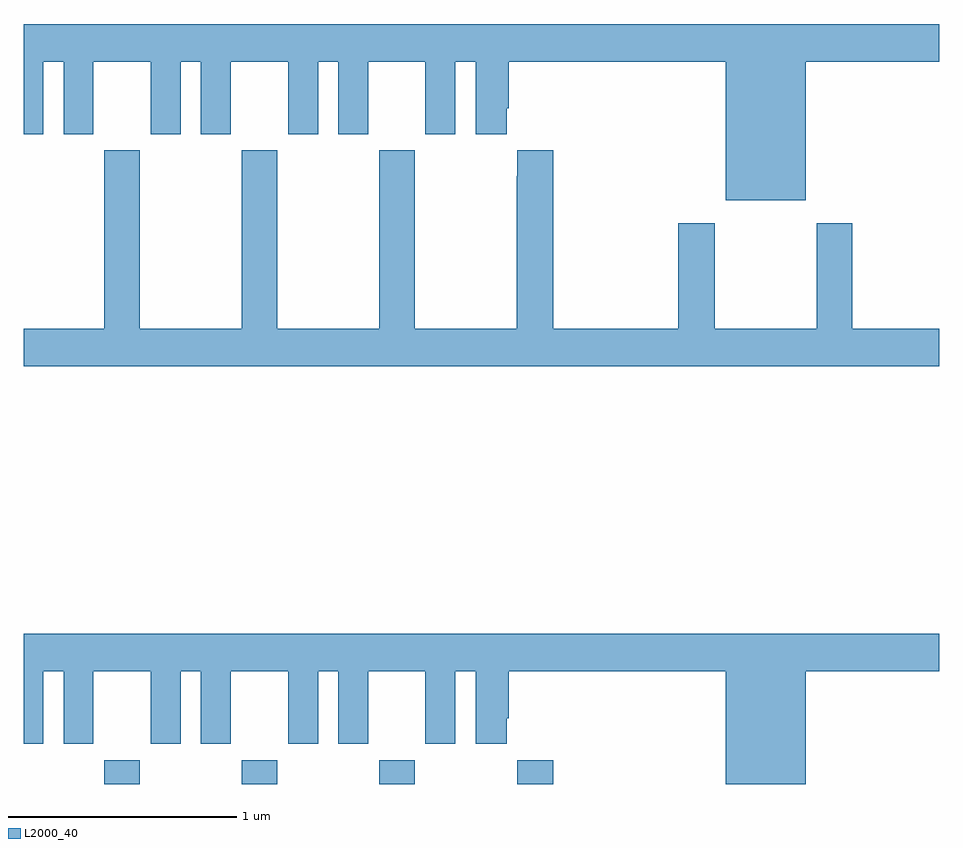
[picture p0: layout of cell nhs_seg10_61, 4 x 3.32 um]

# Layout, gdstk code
import gdstk
lib = gdstk.Library(unit=1e-6, precision=1e-09)
def R(c, l, rs):  # rectangles x0, y0, x1, y1
    for r in rs: c.add(gdstk.rectangle(r[:2], r[2:], *l))
def A(c, l, x, y, w, h, nx, ny, dx, dy):  # array of equal rectangles
    R(c, l, [(x+i*dx, y+j*dy, x+i*dx+w, y+j*dy+h) for i in range(nx) for j in range(ny)])
def P(c, l, *ps):  # polygons
    for p in ps: c.add(gdstk.Polygon(p, *l))
L2000_40 = (2000, 40)

nhs_seg10_61 = lib.new_cell('nhs_seg10_61')
A(nhs_seg10_61, L2000_40, 113.353, 1290.5, 0.155, 0.104, 3, 1, 0.6, 0)
R(nhs_seg10_61, L2000_40, [(115.157,1290.5,115.313,1290.604)])
P(nhs_seg10_61, L2000_40, [(116.416,1293.656),(117,1293.656),(117,1293.82),(113,1293.82),(113,1293.339),(113.086,1293.339),(113.086,1293.656),(113.174,1293.656),(113.174,1293.339),(113.305,1293.339),(113.305,1293.656),(113.555,1293.656),(113.555,1293.339),(113.686,1293.339),(113.686,1293.656),(113.774,1293.656),(113.774,1293.339),(113.905,1293.339),(113.905,1293.656),(114.155,1293.656),(114.155,1293.339),(114.286,1293.339),(114.286,1293.656),(114.374,1293.656),(114.374,1293.339),(114.505,1293.339),(114.505,1293.656),(114.755,1293.656),(114.755,1293.339),(114.886,1293.339),(114.886,1293.656),(114.974,1293.656),(114.974,1293.339),(115.111,1293.339),(115.111,1293.451),(115.118,1293.451),(115.118,1293.656),(116.066,1293.656),(116.066,1293.05),(116.416,1293.05)],
  [(117,1292.488),(116.619,1292.488),(116.619,1292.95),(116.464,1292.95),(116.464,1292.488),(116.019,1292.488),(116.019,1292.95),(115.859,1292.95),(115.859,1292.488),(115.313,1292.488),(115.313,1293.268),(115.157,1293.268),(115.157,1293.155),(115.153,1293.155),(115.153,1292.488),(114.708,1292.488),(114.708,1293.268),(114.553,1293.268),(114.553,1292.488),(114.108,1292.488),(114.108,1293.268),(113.953,1293.268),(113.953,1292.488),(113.508,1292.488),(113.508,1293.268),(113.353,1293.268),(113.353,1292.488),(113,1292.488),(113,1292.324),(117,1292.324)],
  [(116.416,1290.992),(117,1290.992),(117,1291.156),(113,1291.156),(113,1290.675),(113.086,1290.675),(113.086,1290.992),(113.174,1290.992),(113.174,1290.675),(113.305,1290.675),(113.305,1290.992),(113.555,1290.992),(113.555,1290.675),(113.686,1290.675),(113.686,1290.992),(113.774,1290.992),(113.774,1290.675),(113.905,1290.675),(113.905,1290.992),(114.155,1290.992),(114.155,1290.675),(114.286,1290.675),(114.286,1290.992),(114.374,1290.992),(114.374,1290.675),(114.505,1290.675),(114.505,1290.992),(114.755,1290.992),(114.755,1290.675),(114.886,1290.675),(114.886,1290.992),(114.974,1290.992),(114.974,1290.675),(115.111,1290.675),(115.111,1290.787),(115.118,1290.787),(115.118,1290.992),(116.066,1290.992),(116.066,1290.5),(116.416,1290.5)])

lib.write_gds('nhs_seg10_61.gds')
